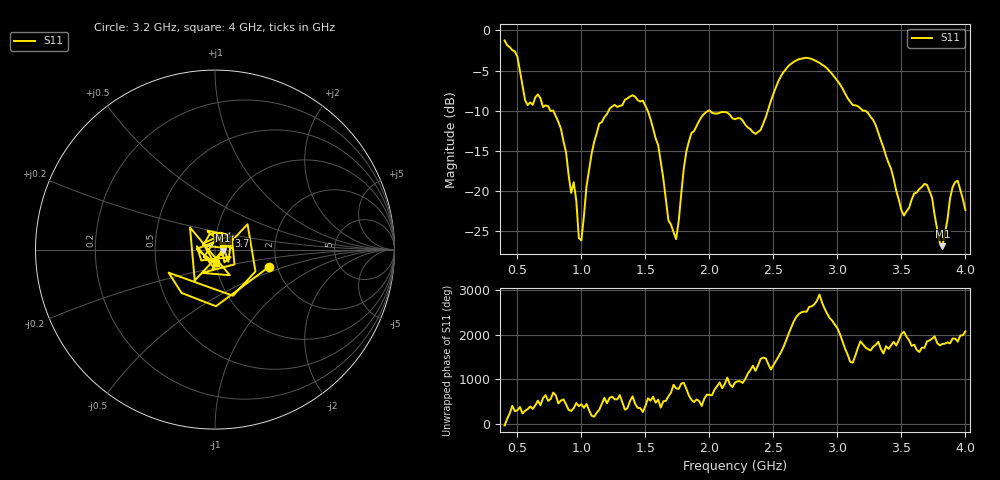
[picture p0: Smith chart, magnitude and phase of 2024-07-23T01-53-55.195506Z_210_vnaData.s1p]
!Created with skrf (http://scikit-rf.org).
# Hz S RI R 50.0
!freq ReS11 ImS11
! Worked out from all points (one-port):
!   181 points, 400 MHz to 4 GHz, reference 50 ohm
!   lowest |S11| = -26.9 dB at 3.82 GHz (marker M1), VSWR 1.09, Z = 54.7 - j0.748 ohm
!   |S11| at or under -10 dB: 1.518 GHz to 1.995 GHz (477.4 MHz wide, 27.2 % of centre); 2.003 GHz to 2.457 GHz (453.6 MHz wide, 20.3 % of centre); 3.199 GHz to end of sweep (the widest 3 of 5)
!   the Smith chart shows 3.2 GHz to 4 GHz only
!   S11 on the Smith chart (normalised r, x): 3.2 GHz: 1.81, -0.39; 3.7 GHz: 1.15, +0.18; 4 GHz: 1.00, -0.15
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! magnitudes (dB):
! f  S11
! 400 MHz  -1.3
! 500 MHz  -3.3
! 580 MHz  -9.3
! 660 MHz  -8.0
! 860 MHz  -13.8
! 1 GHz  -26.2
! 1.04 GHz  -19.4
! 1.14 GHz  -11.6
! 1.3 GHz  -9.4
! 1.48 GHz  -8.8
! 1.6 GHz  -14.3
! 1.68 GHz  -23.7
! 1.74 GHz  -26.0
! 1.76 GHz  -23.8
! 1.8 GHz  -17.2
! 1.86 GHz  -12.8
! 2.2 GHz  -11.1
! 2.4 GHz  -12.4
! 2.66 GHz  -3.9
! 3.1 GHz  -8.9
! 3.2 GHz  -10.0
! 3.3 GHz  -11.8
! 3.5 GHz  -22.4
! 3.56 GHz  -22.1
! 3.7 GHz  -19.2
! 3.82 GHz  -26.9
! 3.92 GHz  -18.9
! 4 GHz  -22.4
